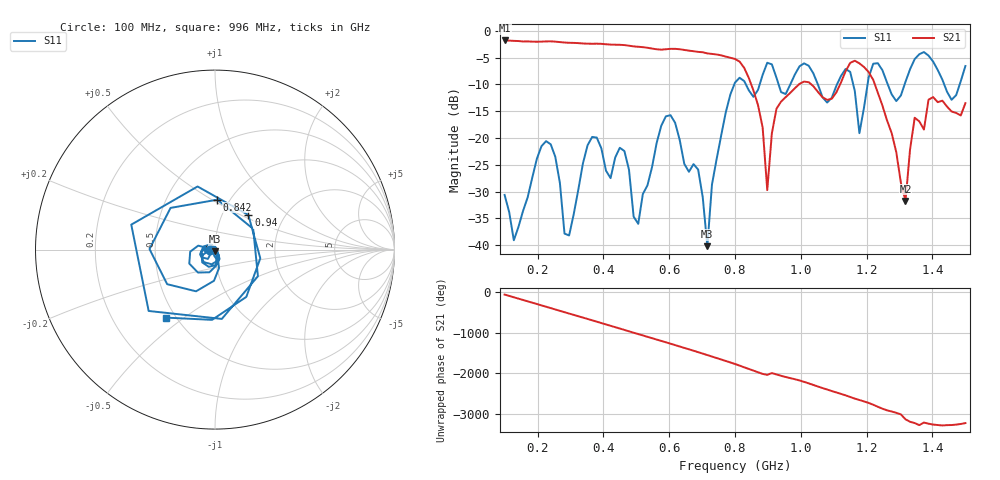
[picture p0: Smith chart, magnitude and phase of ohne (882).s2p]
! NanoVNA-App
! Date: 2025-09-25 14:27:40
! Start: 100MHz Stop: 1,5GHz Points: 101
! S-Parameter data: F S11 S21 S12 S22
# Hz S RI R 50
!  Frequency  S11_Real  S11_Imag  S21_Real  S21_Imag  S12_Real  S12_Imag  S22_Real  S22_Imag
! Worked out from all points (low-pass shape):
!   101 points, 100 MHz to 1.5 GHz, reference 50 ohm
!   highest |S21| = -1.79 dB at 100 MHz (marker M1); lowest = -31.8 dB at 1.318 GHz (marker M2)
!   |S21| within 3 dB of the highest: start of sweep to 771.3 MHz
!   lowest |S11| = -40.2 dB at 716 MHz (marker M3), VSWR 1.02, Z = 49.7 - j0.941 ohm
!   |S11| at or under -10 dB: start of sweep to 797.8 MHz; 833 MHz to 875.1 MHz (42.06 MHz wide, 4.93 % of centre); 1.052 GHz to 1.11 GHz (58.14 MHz wide, 5.38 % of centre)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
!   S12 and S22 are empty: the file has one direction only
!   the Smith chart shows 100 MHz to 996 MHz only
!   S11 on the Smith chart (normalised r, x): 100 MHz: 0.94, -0.01; 842 MHz: 0.88, +0.53; 940 MHz: 1.33, +0.55; 996 MHz: 0.44, -0.43
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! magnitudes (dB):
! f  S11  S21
! 100 MHz  -30.6  -1.8
! 128 MHz  -39.1  -1.9
! 226 MHz  -20.6  -2.0
! 296 MHz  -38.2  -2.2
! 338 MHz  -24.7  -2.4
! 464 MHz  -22.4  -2.7
! 506 MHz  -36.0  -3.0
! 576 MHz  -17.7  -3.5
! 688 MHz  -25.9  -3.9
! 716 MHz  -40.2  -4.2
! 800 MHz  -9.7  -5.2
! 842 MHz  -11.1  -8.8
! 898 MHz  -6.0  -29.7
! 940 MHz  -11.4  -13.2
! 996 MHz  -6.6  -9.9
! 1.038 GHz  -7.9  -10.3
! 1.178 GHz  -19.1  -6.1
! 1.22 GHz  -6.1  -9.2
! 1.276 GHz  -11.9  -19.1
! 1.318 GHz  -9.5  -31.8
! 1.346 GHz  -5.3  -16.2
! 1.5 GHz  -6.6  -13.5
